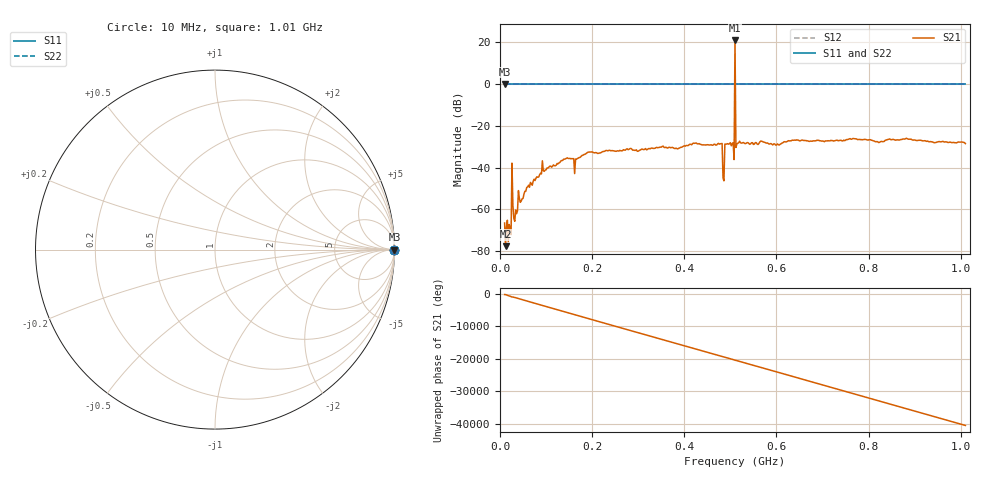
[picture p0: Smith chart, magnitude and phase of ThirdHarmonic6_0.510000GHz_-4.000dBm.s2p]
! 8/15/2025 3:30:29 PM
! C:\ANRITSUVNA\TEMP\TEMP.S2P
! CHANNEL.1
! TR.MEASUREMENT
! RAW.DATA
! RF.CORRECTION.OFF
! AVERAGING.OFF
! IF.BANDWIDTH: 5KHZ
! SWEEPTYPE:  FREQ.SWEEP(Linear)
! Reference Plane Port Info
! PORT:  PORT1  PORT2
! DISTANCE:  0  m  0  m
! TIME:  0  s  0  s
! PHASE.OFFSET:  0  deg.  0  deg.
! LOSS:  0  dB  0  dB
! REF.LOSS:  0  dB  0  dB
! REF.FREQ:  0  Hz  0  Hz
! Power Info
! POWER:  -20  dBm  -20  dBm
! EFF.POWER:  -20  dBm  -20  dBm
! SOURCE.ATTEN:  0  dB  0  dB
! TEST.ATTEN:  0  dB  0  dB
# GHZ S RI R 50.0
! FREQ.GHZ  S11RE  S11IM  S21RE  S21IM  S12RE  S12IM  S22RE  S22IM
!; PortSelection: Port_12
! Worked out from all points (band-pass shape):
!   501 points, 10 MHz to 1.01 GHz, reference 50 ohm
!   highest |S21| = 20.83 dB at 510 MHz (marker M1); lowest = -77.6 dB at 12 MHz (marker M2)
!   |S21| within 3 dB of the highest: 509.8947 MHz to 510.1172 MHz (222.5 kHz wide, 0.0436 % of centre)
!   lowest |S11| = 0.0 dB at 10 MHz (marker M3)
!   |S11| at or under -10 dB: nowhere
!   |S22| runs from 0.0 to 0.0 dB; largest |S21 - S12| = 11
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0.01  1 0  -0.000461 -0.000105  1 0  1 0
0.012  1 0  -0.000129 2.87e-05  1 0  1 0
0.02  1 0  -5.14e-05 0.000434  1 0  1 0
0.024  1 0  3.5e-05 -0.000247  1 0  1 0
0.03  1 0  0.000196 0.000578  1 0  1 0
0.034  1 0  0.000444 -0.000861  1 0  1 0
0.044  1 0  -0.000706 -0.0013  1 0  1 0
0.09  1 0  -0.00636 0.0031  1 0  1 0
0.178  1 0  -0.0193 -0.00289  1 0  1 0
0.344  1 0  0.028 -0.0111  1 0  1 0
0.478  1 0  0.0367 -0.00549  1 0  1 0
0.482  1 0  -0.0369 -0.00773  1 0  1 0
0.488  1 0  0.0202 -0.0305  1 0  1 0
0.492  1 0  -0.0304 0.0204  1 0  1 0
0.504  1 0  0.033 0.0177  1 0  1 0
0.506  1 0  0.0241 -0.0312  1 0  1 0
0.51  1 0  -1.619 10.88  1 0  1 0
0.514  1 0  0.0351 -0.0106  1 0  1 0
0.516  1 0  -0.00417 -0.0379  1 0  1 0
0.678  1 0  -0.0291 -0.0316  1 0  1 0
0.844  1 0  0.0428 0.0205  1 0  1 0
1.01  1 0  -0.0373 0.00444  1 0  1 0
